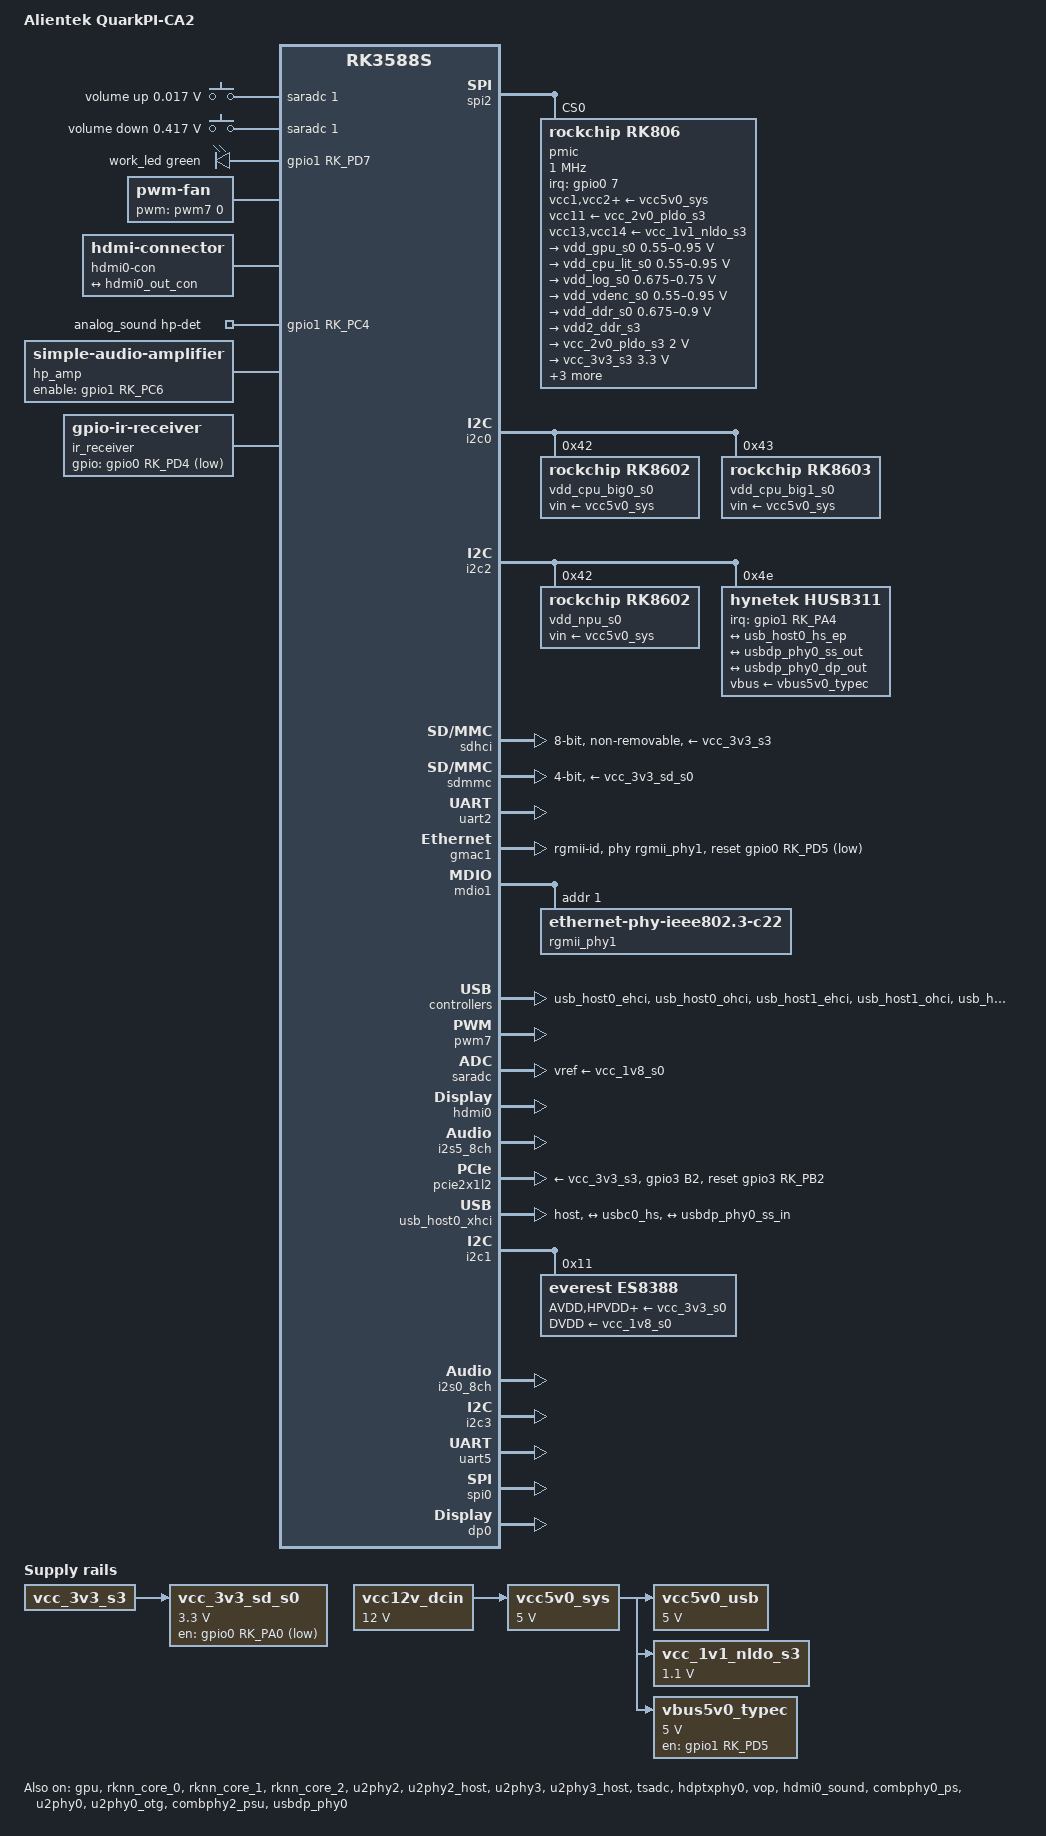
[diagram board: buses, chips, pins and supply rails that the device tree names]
// SPDX-License-Identifier: (GPL-2.0+ OR MIT)
/*
 * Copyright (c) 2021 Rockchip Electronics Co., Ltd.
 */

/dts-v1/;

#include <dt-bindings/gpio/gpio.h>
#include <dt-bindings/interrupt-controller/irq.h>
#include <dt-bindings/input/input.h>
#include <dt-bindings/leds/common.h>
#include <dt-bindings/media/video-interfaces.h>
#include <dt-bindings/pinctrl/rockchip.h>
#include <dt-bindings/soc/rockchip,vop2.h>
#include <dt-bindings/thermal/thermal.h>
#include "rk3588s.dtsi"

/ {
	model = "Alientek QuarkPI-CA2";
	compatible = "alientek,quarkpi-ca2", "rockchip,rk3588s";

	reserved-memory {
		#address-cells = <2>;
		#size-cells = <2>;
		ranges;

		ramoops: ramoops@118000 {
			compatible = "ramoops";
			reg = <0 0x118000 0 0xd8000>;
			console-size = <0x80000>;
			ftrace-size = <0x00000>;
			pmsg-size = <0x30000>;
			record-size = <0x14000>;
		};
	};

	aliases {
		mmc0 = &sdhci;
		mmc1 = &sdmmc;
		ethernet0 = &gmac1;
	};

	chosen {
		stdout-path = "serial2:1500000n8";
	};

	adc_keys: adc-keys {
		compatible = "adc-keys";
		io-channels = <&saradc 1>;
		io-channel-names = "buttons";
		keyup-threshold-microvolt = <1800000>;
		poll-interval = <100>;

		button-vol-up {
			label = "volume up";
			linux,code = <KEY_VOLUMEUP>;
			press-threshold-microvolt = <17000>;
		};

		button-vol-down {
			label = "volume down";
			linux,code = <KEY_VOLUMEDOWN>;
			press-threshold-microvolt = <417000>;
		};
	};

	leds: leds {
		compatible = "gpio-leds";

		work_led: led-0 {
			color = <LED_COLOR_ID_GREEN>;
			function = LED_FUNCTION_HEARTBEAT;
			gpios = <&gpio1 RK_PD7 GPIO_ACTIVE_HIGH>;
			linux,default-trigger = "heartbeat";
			pinctrl-names = "default";
			pinctrl-0 = <&work_led_pin>;
		};
	};

	fan: pwm-fan {
		compatible = "pwm-fan";
		#cooling-cells = <2>;
		pwms = <&pwm7 0 50000 0>;
		cooling-levels = <0 50 100 150 200 255>;
	};

	vcc12v_dcin: regulator-vcc12v-dcin {
		compatible = "regulator-fixed";
		regulator-name = "vcc12v_dcin";
		regulator-always-on;
		regulator-boot-on;
		regulator-min-microvolt = <12000000>;
		regulator-max-microvolt = <12000000>;
	};

	vcc5v0_sys: regulator-vcc5v0-sys {
		compatible = "regulator-fixed";
		regulator-name = "vcc5v0_sys";
		regulator-always-on;
		regulator-boot-on;
		regulator-min-microvolt = <5000000>;
		regulator-max-microvolt = <5000000>;
		vin-supply = <&vcc12v_dcin>;
	};

	vcc5v0_usb: regulator-vcc5v0-usb {
		compatible = "regulator-fixed";
		regulator-name = "vcc5v0_usb";
		regulator-always-on;
		regulator-boot-on;
		regulator-min-microvolt = <5000000>;
		regulator-max-microvolt = <5000000>;
		vin-supply = <&vcc5v0_sys>;
	};

	vcc_1v1_nldo_s3: regulator-vcc-1v1-nldo-s3 {
		compatible = "regulator-fixed";
		regulator-name = "vcc_1v1_nldo_s3";
		regulator-always-on;
		regulator-boot-on;
		regulator-min-microvolt = <1100000>;
		regulator-max-microvolt = <1100000>;
		vin-supply = <&vcc5v0_sys>;
	};

	vcc_3v3_sd_s0: regulator-vcc-3v3-sd-s0 {
		compatible = "regulator-fixed";
		gpios = <&gpio0 RK_PA0 GPIO_ACTIVE_LOW>;
		pinctrl-names = "default";
		pinctrl-0 = <&sd_s0_pwr>;
		regulator-name = "vcc_3v3_sd_s0";
		regulator-min-microvolt = <3300000>;
		regulator-max-microvolt = <3300000>;
		vin-supply = <&vcc_3v3_s3>;
	};
};

&spi2 {
	status = "okay";
	assigned-clocks = <&cru CLK_SPI2>;
	assigned-clock-rates = <200000000>;
	num-cs = <1>;
	pinctrl-names = "default";
	pinctrl-0 = <&spi2m2_cs0 &spi2m2_pins>;

	pmic@0 {
		compatible = "rockchip,rk806";
		reg = <0x0>;
		interrupt-parent = <&gpio0>;
		interrupts = <7 IRQ_TYPE_LEVEL_LOW>;
		pinctrl-names = "default";
		pinctrl-0 = <&pmic_pins>, <&rk806_dvs1_null>,
			    <&rk806_dvs2_null>, <&rk806_dvs3_null>;
		spi-max-frequency = <1000000>;
		system-power-controller;

		gpio-controller;
		#gpio-cells = <2>;

		vcc1-supply = <&vcc5v0_sys>;
		vcc2-supply = <&vcc5v0_sys>;
		vcc3-supply = <&vcc5v0_sys>;
		vcc4-supply = <&vcc5v0_sys>;
		vcc5-supply = <&vcc5v0_sys>;
		vcc6-supply = <&vcc5v0_sys>;
		vcc7-supply = <&vcc5v0_sys>;
		vcc8-supply = <&vcc5v0_sys>;
		vcc9-supply = <&vcc5v0_sys>;
		vcc10-supply = <&vcc5v0_sys>;
		vcc11-supply = <&vcc_2v0_pldo_s3>;
		vcc12-supply = <&vcc5v0_sys>;
		vcc13-supply = <&vcc_1v1_nldo_s3>;
		vcc14-supply = <&vcc_1v1_nldo_s3>;
		vcca-supply = <&vcc5v0_sys>;

		rk806_dvs1_null: dvs1-null-pins {
			pins = "gpio_pwrctrl1";
			function = "pin_fun0";
		};

		rk806_dvs2_null: dvs2-null-pins {
			pins = "gpio_pwrctrl2";
			function = "pin_fun0";
		};

		rk806_dvs3_null: dvs3-null-pins {
			pins = "gpio_pwrctrl3";
			function = "pin_fun0";
		};

		regulators {
			vdd_gpu_s0: dcdc-reg1 {
				regulator-name = "vdd_gpu_s0";
				regulator-boot-on;
				regulator-min-microvolt = <550000>;
				regulator-max-microvolt = <950000>;
				regulator-ramp-delay = <12500>;
				regulator-enable-ramp-delay = <400>;

				regulator-state-mem {
					regulator-off-in-suspend;
				};
			};

			vdd_cpu_lit_s0: vdd_cpu_lit_mem_s0: dcdc-reg2 {
				regulator-name = "vdd_cpu_lit_s0";
				regulator-always-on;
				regulator-boot-on;
				regulator-min-microvolt = <550000>;
				regulator-max-microvolt = <950000>;
				regulator-ramp-delay = <12500>;

				regulator-state-mem {
					regulator-off-in-suspend;
				};
			};

			vdd_log_s0: dcdc-reg3 {
				regulator-name = "vdd_log_s0";
				regulator-always-on;
				regulator-boot-on;
				regulator-min-microvolt = <675000>;
				regulator-max-microvolt = <750000>;
				regulator-ramp-delay = <12500>;

				regulator-state-mem {
					regulator-off-in-suspend;
					regulator-suspend-microvolt = <750000>;
				};
			};

			vdd_vdenc_s0: vdd_vdenc_mem_s0: dcdc-reg4 {
				regulator-name = "vdd_vdenc_s0";
				regulator-always-on;
				regulator-boot-on;
				regulator-min-microvolt = <550000>;
				regulator-max-microvolt = <950000>;
				regulator-ramp-delay = <12500>;

				regulator-state-mem {
					regulator-off-in-suspend;
				};
			};

			vdd_ddr_s0: dcdc-reg5 {
				regulator-name = "vdd_ddr_s0";
				regulator-always-on;
				regulator-boot-on;
				regulator-min-microvolt = <675000>;
				regulator-max-microvolt = <900000>;
				regulator-ramp-delay = <12500>;

				regulator-state-mem {
					regulator-off-in-suspend;
					regulator-suspend-microvolt = <850000>;
				};
			};

			vdd2_ddr_s3: dcdc-reg6 {
				regulator-name = "vdd2_ddr_s3";
				regulator-always-on;
				regulator-boot-on;

				regulator-state-mem {
					regulator-on-in-suspend;
				};
			};

			vcc_2v0_pldo_s3: dcdc-reg7 {
				regulator-name = "vcc_2v0_pldo_s3";
				regulator-always-on;
				regulator-boot-on;
				regulator-min-microvolt = <2000000>;
				regulator-max-microvolt = <2000000>;
				regulator-ramp-delay = <12500>;

				regulator-state-mem {
					regulator-on-in-suspend;
					regulator-suspend-microvolt = <2000000>;
				};
			};

			vcc_3v3_s3: dcdc-reg8 {
				regulator-name = "vcc_3v3_s3";
				regulator-always-on;
				regulator-boot-on;
				regulator-min-microvolt = <3300000>;
				regulator-max-microvolt = <3300000>;

				regulator-state-mem {
					regulator-on-in-suspend;
					regulator-suspend-microvolt = <3300000>;
				};
			};

			vddq_ddr_s0: dcdc-reg9 {
				regulator-name = "vddq_ddr_s0";
				regulator-always-on;
				regulator-boot-on;

				regulator-state-mem {
					regulator-off-in-suspend;
				};
			};

			vcc_1v8_s3: dcdc-reg10 {
				regulator-name = "vcc_1v8_s3";
				regulator-always-on;
				regulator-boot-on;
				regulator-min-microvolt = <1800000>;
				regulator-max-microvolt = <1800000>;

				regulator-state-mem {
					regulator-on-in-suspend;
					regulator-suspend-microvolt = <1800000>;
				};
			};

			avcc_1v8_s0: pldo-reg1 {
				regulator-name = "avcc_1v8_s0";
				regulator-always-on;
				regulator-boot-on;
				regulator-min-microvolt = <1800000>;
				regulator-max-microvolt = <1800000>;

				regulator-state-mem {
					regulator-off-in-suspend;
				};
			};

			vcc_1v8_s0: pldo-reg2 {
				regulator-name = "vcc_1v8_s0";
				regulator-always-on;
				regulator-boot-on;
				regulator-min-microvolt = <1800000>;
				regulator-max-microvolt = <1800000>;

				regulator-state-mem {
					regulator-off-in-suspend;
					regulator-suspend-microvolt = <1800000>;
				};
			};

			avdd_1v2_s0: pldo-reg3 {
				regulator-name = "avdd_1v2_s0";
				regulator-always-on;
				regulator-boot-on;
				regulator-min-microvolt = <1200000>;
				regulator-max-microvolt = <1200000>;

				regulator-state-mem {
					regulator-off-in-suspend;
				};
			};

			vcc_3v3_s0: pldo-reg4 {
				regulator-name = "vcc_3v3_s0";
				regulator-always-on;
				regulator-boot-on;
				regulator-min-microvolt = <3300000>;
				regulator-max-microvolt = <3300000>;

				regulator-state-mem {
					regulator-off-in-suspend;
				};
			};

			vccio_sd_s0: pldo-reg5 {
				regulator-name = "vccio_sd_s0";
				regulator-always-on;
				regulator-boot-on;
				regulator-min-microvolt = <1800000>;
				regulator-max-microvolt = <3300000>;
				regulator-ramp-delay = <12500>;

				regulator-state-mem {
					regulator-off-in-suspend;
				};
			};

			pldo6_s3: pldo-reg6 {
				regulator-name = "pldo6_s3";
				regulator-always-on;
				regulator-boot-on;
				regulator-min-microvolt = <1800000>;
				regulator-max-microvolt = <1800000>;

				regulator-state-mem {
					regulator-on-in-suspend;
					regulator-suspend-microvolt = <1800000>;
				};
			};

			vdd_0v75_s3: nldo-reg1 {
				regulator-name = "vdd_0v75_s3";
				regulator-always-on;
				regulator-boot-on;
				regulator-min-microvolt = <750000>;
				regulator-max-microvolt = <750000>;

				regulator-state-mem {
					regulator-on-in-suspend;
					regulator-suspend-microvolt = <750000>;
				};
			};

			vdd_ddr_pll_s0: nldo-reg2 {
				regulator-name = "vdd_ddr_pll_s0";
				regulator-always-on;
				regulator-boot-on;
				regulator-min-microvolt = <850000>;
				regulator-max-microvolt = <850000>;

				regulator-state-mem {
					regulator-off-in-suspend;
					regulator-suspend-microvolt = <850000>;
				};
			};

			avdd_0v75_s0: nldo-reg3 {
				regulator-name = "avdd_0v75_s0";
				regulator-always-on;
				regulator-boot-on;
				regulator-min-microvolt = <837500>;
				regulator-max-microvolt = <837500>;

				regulator-state-mem {
					regulator-off-in-suspend;
				};
			};

			vdd_0v85_s0: nldo-reg4 {
				regulator-name = "vdd_0v85_s0";
				regulator-always-on;
				regulator-boot-on;
				regulator-min-microvolt = <850000>;
				regulator-max-microvolt = <850000>;

				regulator-state-mem {
					regulator-off-in-suspend;
				};
			};

			vdd_0v75_s0: nldo-reg5 {
				regulator-name = "vdd_0v75_s0";
				regulator-always-on;
				regulator-boot-on;
				regulator-min-microvolt = <750000>;
				regulator-max-microvolt = <750000>;

				regulator-state-mem {
					regulator-off-in-suspend;
				};
			};
		};
	};
};

&i2c0 {
	pinctrl-names = "default";
	pinctrl-0 = <&i2c0m2_xfer>;
	status = "okay";

	vdd_cpu_big0_s0: regulator@42 {
		compatible = "rockchip,rk8602";
		reg = <0x42>;
		fcs,suspend-voltage-selector = <1>;
		regulator-name = "vdd_cpu_big0_s0";
		regulator-always-on;
		regulator-boot-on;
		regulator-min-microvolt = <550000>;
		regulator-max-microvolt = <1050000>;
		regulator-ramp-delay = <2300>;
		vin-supply = <&vcc5v0_sys>;

		regulator-state-mem {
			regulator-off-in-suspend;
		};
	};

	vdd_cpu_big1_s0: regulator@43 {
		compatible = "rockchip,rk8603", "rockchip,rk8602";
		reg = <0x43>;
		fcs,suspend-voltage-selector = <1>;
		regulator-name = "vdd_cpu_big1_s0";
		regulator-always-on;
		regulator-boot-on;
		regulator-min-microvolt = <550000>;
		regulator-max-microvolt = <1050000>;
		regulator-ramp-delay = <2300>;
		vin-supply = <&vcc5v0_sys>;

		regulator-state-mem {
			regulator-off-in-suspend;
		};
	};
};

&i2c2 {
	pinctrl-names = "default";
	pinctrl-0 = <&i2c2m0_xfer>;
	status = "okay";

	vdd_npu_s0: vdd_npu_mem_s0: regulator@42 {
		compatible = "rockchip,rk8602";
		reg = <0x42>;
		fcs,suspend-voltage-selector = <1>;
		regulator-name = "vdd_npu_s0";
		regulator-always-on;
		regulator-boot-on;
		regulator-min-microvolt = <550000>;
		regulator-max-microvolt = <950000>;
		regulator-ramp-delay = <2300>;
		vin-supply = <&vcc5v0_sys>;

		regulator-state-mem {
			regulator-off-in-suspend;
		};
	};

	husb311: typec-port@4e {
		compatible = "hynetek,husb311", "richtek,rt1711h";
		reg = <0x4e>;
		interrupt-parent = <&gpio1>;
		interrupts = <RK_PA4 IRQ_TYPE_LEVEL_LOW>;
		pinctrl-names = "default";
		pinctrl-0 = <&usbc0_int>;
		vbus-supply = <&vbus5v0_typec>;

		usb_con: connector {
			compatible = "usb-c-connector";
			label = "USB-C";
			power-role = "dual";
			data-role = "host";
			try-power-role = "sink";
			source-pdos = <0x401912c>;
			sink-pdos = <0x4019064>;
			op-sink-microwatt = <1000000>;

			altmodes {
				displayport {
					svid = /bits/ 16 <0xff01>;
					vdo = <0xffffffff>;
				};
			};

			ports {
				#address-cells = <1>;
				#size-cells = <0>;

				port@0 {
					reg = <0>;
					usbc0_hs: endpoint {
						remote-endpoint = <&usb_host0_hs_ep>;
					};
				};

				port@1 {
					reg = <1>;
					usbc0_ss: endpoint {
						remote-endpoint = <&usbdp_phy0_ss_out>;
					};
				};

				port@2 {
					reg = <2>;
					usbc0_sbu: endpoint {
						remote-endpoint = <&usbdp_phy0_dp_out>;
					};
				};
			};
		};
	};
};

&cpu_l0 {
	cpu-supply = <&vdd_cpu_lit_s0>;
	mem-supply = <&vdd_cpu_lit_mem_s0>;
};

&cpu_l1 {
	cpu-supply = <&vdd_cpu_lit_s0>;
	mem-supply = <&vdd_cpu_lit_mem_s0>;
};

&cpu_l2 {
	cpu-supply = <&vdd_cpu_lit_s0>;
	mem-supply = <&vdd_cpu_lit_mem_s0>;
};

&cpu_l3 {
	cpu-supply = <&vdd_cpu_lit_s0>;
	mem-supply = <&vdd_cpu_lit_mem_s0>;
};

&cpu_b0 {
	cpu-supply = <&vdd_cpu_big0_s0>;
	mem-supply = <&vdd_cpu_big0_s0>;
};

&cpu_b1 {
	cpu-supply = <&vdd_cpu_big0_s0>;
	mem-supply = <&vdd_cpu_big0_s0>;
};

&cpu_b2 {
	cpu-supply = <&vdd_cpu_big1_s0>;
	mem-supply = <&vdd_cpu_big1_s0>;
};

&cpu_b3 {
	cpu-supply = <&vdd_cpu_big1_s0>;
	mem-supply = <&vdd_cpu_big1_s0>;
};

&gpu {
	mali-supply = <&vdd_gpu_s0>;
	status = "okay";
};

&rknn_core_0 {
	npu-supply = <&vdd_npu_s0>;
	sram-supply = <&vdd_npu_mem_s0>;
	status = "okay";
};

&rknn_core_1 {
	npu-supply = <&vdd_npu_s0>;
	sram-supply = <&vdd_npu_mem_s0>;
	status = "okay";
};

&rknn_core_2 {
	npu-supply = <&vdd_npu_s0>;
	sram-supply = <&vdd_npu_mem_s0>;
	status = "okay";
};

&sdhci {
	bus-width = <8>;
	no-sdio;
	no-sd;
	non-removable;
	max-frequency = <200000000>;
	mmc-hs400-1_8v;
	mmc-hs400-enhanced-strobe;
	vmmc-supply = <&vcc_3v3_s3>;
	vqmmc-supply = <&vcc_1v8_s3>;
	status = "okay";
};

&sdmmc {
	max-frequency = <150000000>;
	no-sdio;
	no-mmc;
	bus-width = <4>;
	cap-mmc-highspeed;
	cap-sd-highspeed;
	disable-wp;
	sd-uhs-sdr104;
	vmmc-supply = <&vcc_3v3_sd_s0>;
	vqmmc-supply = <&vccio_sd_s0>;
	pinctrl-names = "default";
	pinctrl-0 = <&sdmmc_bus4 &sdmmc_clk &sdmmc_cmd &sdmmc_det>;
	status = "okay";
};

&uart2 {
	pinctrl-0 = <&uart2m0_xfer>;
	status = "okay";
};

&gmac1 {
	phy-mode = "rgmii-id";
	clock_in_out = "input";

	snps,reset-gpio = <&gpio0 RK_PD5 GPIO_ACTIVE_LOW>;
	snps,reset-active-low;
	snps,reset-delays-us = <0 20000 100000>;

	pinctrl-names = "default";
	pinctrl-0 = <&gmac1_miim
		     &gmac1_tx_bus2
		     &gmac1_rx_bus2
		     &gmac1_rgmii_clk
		     &gmac1_rgmii_bus
		     &gmac1_clkinout>;

	phy-handle = <&rgmii_phy1>;
	status = "okay";
};

&mdio1 {
	rgmii_phy1: ethernet-phy@1 {
		compatible = "ethernet-phy-ieee802.3-c22";
		reg = <0x1>;

		motorcomm,clk-out-frequency-hz = <125000000>;
		motorcomm,keep-pll-enabled;
	};
};

&u2phy2 {
	status = "okay";
};

&u2phy2_host {
	phy-supply = <&vcc5v0_usb>;
	status = "okay";
};

&usb_host0_ehci {
	status = "okay";
};

&usb_host0_ohci {
	status = "okay";
};

&u2phy3 {
	status = "okay";
};

&u2phy3_host {
	phy-supply = <&vcc5v0_usb>;
	status = "okay";
};

&usb_host1_ehci {
	status = "okay";
};

&usb_host1_ohci {
	status = "okay";
};

&pwm7 {
	pinctrl-0 = <&pwm7m0_pins>;
	status = "okay";
};

&saradc {
	status = "okay";
	vref-supply = <&vcc_1v8_s0>;
};

&tsadc {
	status = "okay";
};

&pinctrl {
	sdmmc {
		sd_s0_pwr: sd-s0-pwr {
			rockchip,pins = <0 RK_PA0 RK_FUNC_GPIO &pcfg_pull_none>;
		};
	};

	pcie {
		pcie2x1l2_perstn: pcie2x1l2-perstn {
			rockchip,pins = <3 RK_PB2 RK_FUNC_GPIO &pcfg_pull_none>;
		};
	};

	usb-typec {
		typec5v_pwren: typec5v-pwren {
			rockchip,pins = <1 RK_PD5 RK_FUNC_GPIO &pcfg_pull_none>;
		};

		usbc0_int: usbc0-int {
			rockchip,pins = <1 RK_PA4 RK_FUNC_GPIO &pcfg_pull_up>;
		};
	};

	leds {
		work_led_pin: work-led-pin {
			rockchip,pins = <1 RK_PD7 RK_FUNC_GPIO &pcfg_pull_down>;
		};
	};
};

&package_thermal {
	polling-delay = <1000>;

	trips {
		fan_trip0: fan-trip0 {
			temperature = <50000>;
			hysteresis = <2000>;
			type = "active";
		};

		fan_trip1: fan-trip1 {
			temperature = <55000>;
			hysteresis = <2000>;
			type = "active";
		};

		fan_trip2: fan-trip2 {
			temperature = <60000>;
			hysteresis = <2000>;
			type = "active";
		};

		fan_trip3: fan-trip3 {
			temperature = <65000>;
			hysteresis = <2000>;
			type = "active";
		};

		fan_trip4: fan-trip4 {
			temperature = <70000>;
			hysteresis = <2000>;
			type = "active";
		};
	};

	cooling-maps {
		map0 {
			trip = <&fan_trip0>;
			cooling-device = <&fan THERMAL_NO_LIMIT 1>;
		};

		map1 {
			trip = <&fan_trip1>;
			cooling-device = <&fan 1 2>;
		};

		map2 {
			trip = <&fan_trip2>;
			cooling-device = <&fan 2 3>;
		};

		map3 {
			trip = <&fan_trip3>;
			cooling-device = <&fan 3 4>;
		};

		map4 {
			trip = <&fan_trip4>;
			cooling-device = <&fan 4 THERMAL_NO_LIMIT>;
		};
	};
};

&hdmi0 {
	frl-enable-gpios = <&gpio4 RK_PB6 GPIO_ACTIVE_LOW>;
	pinctrl-0 = <&hdmim0_tx0_cec &hdmim0_tx0_hpd
		     &hdmim0_tx0_scl &hdmim0_tx0_sda>;
	pinctrl-names = "default";
	status = "okay";
};

&hdmi0_in {
	hdmi0_in_vp0: endpoint {
		remote-endpoint = <&vp0_out_hdmi0>;
	};
};

&hdmi0_out {
	hdmi0_out_con: endpoint {
		remote-endpoint = <&hdmi0_con_in>;
	};
};

&hdptxphy0 {
	status = "okay";
};

&vop {
	status = "okay";
};

&vop_mmu {
	status = "okay";
};

&vp0 {
	vp0_out_hdmi0: endpoint@ROCKCHIP_VOP2_EP_HDMI0 {
		reg = <ROCKCHIP_VOP2_EP_HDMI0>;
		remote-endpoint = <&hdmi0_in_vp0>;
	};
};

&i2s5_8ch {
	status = "okay";
};

&hdmi0_sound {
	status = "okay";
};

&sata0 {
	status = "disabled";
};

&combphy0_ps {
	status = "okay";
};

&pcie2x1l2 {
	pinctrl-names = "default";
	pinctrl-0 = <&pcie2x1l2_perstn>;
	reset-gpios = <&gpio3 RK_PB2 GPIO_ACTIVE_HIGH>;
	vpcie3v3-supply = <&vcc_3v3_s3>;
	status = "okay";
};

&u2phy0 {
	status = "okay";
};

&u2phy0_otg {
	status = "okay";
};

&combphy2_psu {
	status = "okay";
};

&usb_host2_xhci {
	status = "okay";
};

&usb_host0_xhci {
	dr_mode = "host";
	status = "okay";

	ports {
		#address-cells = <1>;
		#size-cells = <0>;

		port@0 {
			reg = <0>;
			usb_host0_hs_ep: endpoint {
				remote-endpoint = <&usbc0_hs>;
			};
		};

		port@1 {
			reg = <1>;
			usb_host0_ss_ep: endpoint {
				remote-endpoint = <&usbdp_phy0_ss_in>;
			};
		};
	};
};

/ {
	hdmi0-con {
		compatible = "hdmi-connector";
		type = "a";

		port {
			hdmi0_con_in: endpoint {
				remote-endpoint = <&hdmi0_out_con>;
			};
		};
	};

	vbus5v0_typec: regulator-vbus5v0-typec {
		compatible = "regulator-fixed";
		enable-active-high;
		regulator-name = "vbus5v0_typec";
		regulator-min-microvolt = <5000000>;
		regulator-max-microvolt = <5000000>;
		gpios = <&gpio1 RK_PD5 GPIO_ACTIVE_HIGH>;
		vin-supply = <&vcc5v0_sys>;
		pinctrl-names = "default";
		pinctrl-0 = <&typec5v_pwren>;
	};
};

&i2c1 {
	pinctrl-names = "default";
	pinctrl-0 = <&i2c1m4_xfer>;
	status = "okay";

	es8388: audio-codec@11 {
		compatible = "everest,es8388", "everest,es8328";
		reg = <0x11>;
		clocks = <&cru I2S0_8CH_MCLKOUT_TO_IO>;
		assigned-clocks = <&cru I2S0_8CH_MCLKOUT>;
		assigned-clock-rates = <12288000>;
		AVDD-supply = <&vcc_3v3_s0>;
		DVDD-supply = <&vcc_1v8_s0>;
		HPVDD-supply = <&vcc_3v3_s0>;
		PVDD-supply = <&vcc_3v3_s0>;
		#sound-dai-cells = <0>;
	};
};

&i2s0_8ch {
	pinctrl-names = "default";
	pinctrl-0 = <&i2s0_lrck &i2s0_mclk &i2s0_sclk &i2s0_sdi0 &i2s0_sdo0>;
	status = "okay";
};

&pinctrl {
	headphone {
		hp_det: hp-det {
			rockchip,pins = <1 RK_PC4 RK_FUNC_GPIO &pcfg_pull_none>;
		};

		hp_con: hp-con {
			rockchip,pins = <1 RK_PC6 RK_FUNC_GPIO &pcfg_pull_none>;
		};
	};
};

/ {
	analog_sound: analog-sound {
		compatible = "simple-audio-card";
		pinctrl-names = "default";
		pinctrl-0 = <&hp_det &hp_con>;
		simple-audio-card,name = "QuarkPi-CA2 ES8388";
		simple-audio-card,format = "i2s";
		simple-audio-card,bitclock-master = <&sound_cpu>;
		simple-audio-card,frame-master = <&sound_cpu>;
		simple-audio-card,mclk-fs = <256>;
		simple-audio-card,aux-devs = <&hp_amp>;
		simple-audio-card,hp-det-gpios = <&gpio1 RK_PC4 GPIO_ACTIVE_HIGH>;
		simple-audio-card,pin-switches = "Headphones";
		simple-audio-card,widgets =
			"Headphone", "Headphones",
			"Microphone", "Headset Mic",
			"Microphone", "Main Mic";
		simple-audio-card,routing =
			"Headphones", "LOUT1",
			"Headphones", "ROUT1",
			"Headphones", "Headphone Power OUTL",
			"Headphones", "Headphone Power OUTR",
			"Headphone Power INL", "LOUT1",
			"Headphone Power INR", "ROUT1",
			"LINPUT1", "Headset Mic",
			"LINPUT2", "Main Mic",
			"RINPUT1", "Headset Mic",
			"RINPUT2", "Main Mic";

		sound_cpu: simple-audio-card,cpu {
			sound-dai = <&i2s0_8ch>;
		};

		sound_codec: simple-audio-card,codec {
			sound-dai = <&es8388>;
			system-clock-frequency = <12288000>;
		};
	};

	hp_amp: audio-amplifier {
		compatible = "simple-audio-amplifier";
		sound-name-prefix = "Headphone Power";
		enable-gpios = <&gpio1 RK_PC6 GPIO_ACTIVE_HIGH>;
	};
};

&i2c3 {
	pinctrl-names = "default";
	pinctrl-0 = <&i2c3m1_xfer>;
	status = "okay";
};


&uart5 {
	pinctrl-names = "default";
	pinctrl-0 = <&uart5m1_xfer>;
	status = "okay";
};

&spi0 {
	pinctrl-names = "default";
	pinctrl-0 = <&spi0m3_pins>, <&spi0m3_cs0>, <&spi0m3_cs1>;
	num-cs = <2>;
	status = "okay";

};

&rga3_core0 {};

&rga3_core1 {};

&pinctrl {
	ir {
		ir_receiver_pin: ir-receiver-pin {
			rockchip,pins = <0 RK_PD4 RK_FUNC_GPIO &pcfg_pull_up>;
		};
	};
};


&{/} {
	ir_receiver: ir-receiver {
		compatible = "gpio-ir-receiver";
		gpios = <&gpio0 RK_PD4 GPIO_ACTIVE_LOW>;
		pinctrl-names = "default";
		pinctrl-0 = <&ir_receiver_pin>;
	};
};


&dp0 {
	status = "okay";
};

&dp0_in {
	dp0_in_vp1: endpoint {
		remote-endpoint = <&vp1_out_dp0>;
	};
};

&dp0_out {
	dp0_out_con: endpoint {
		remote-endpoint = <&usbdp_phy0_dp_in>;
	};
};

&vp1 {
	vp1_out_dp0: endpoint@a {
		reg = <ROCKCHIP_VOP2_EP_DP0>;
		remote-endpoint = <&dp0_in_vp1>;
	};
};

&usbdp_phy0 {
	orientation-switch;
	mode-switch;
	sbu1-dc-gpios = <&gpio4 RK_PA6 GPIO_ACTIVE_HIGH>;
	sbu2-dc-gpios = <&gpio4 RK_PA7 GPIO_ACTIVE_HIGH>;
	rockchip,dp-lane-mux = <2 3>;
	status = "okay";

	port {
		#address-cells = <1>;
		#size-cells = <0>;

		usbdp_phy0_ss_out: endpoint@0 {
			reg = <0>;
			remote-endpoint = <&usbc0_ss>;
		};

		usbdp_phy0_ss_in: endpoint@1 {
			reg = <1>;
			remote-endpoint = <&usb_host0_ss_ep>;
		};

		usbdp_phy0_dp_in: endpoint@2 {
			reg = <2>;
			remote-endpoint = <&dp0_out_con>;
		};

		usbdp_phy0_dp_out: endpoint@3 {
			reg = <3>;
			remote-endpoint = <&usbc0_sbu>;
		};
	};
};
